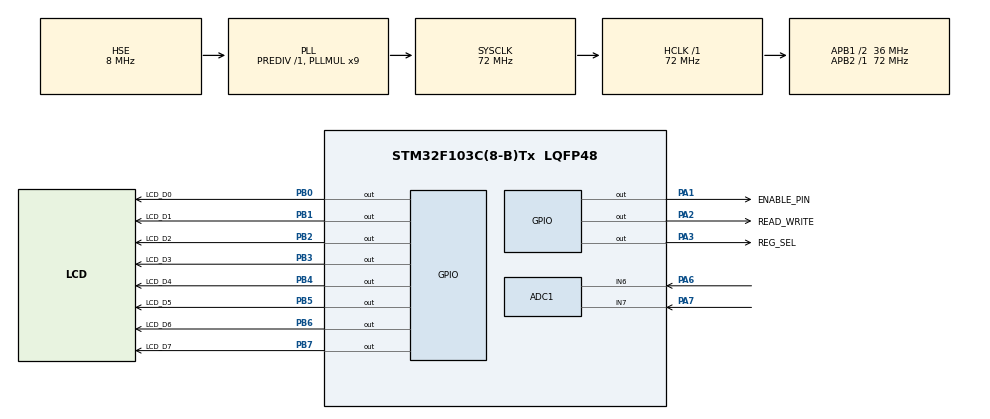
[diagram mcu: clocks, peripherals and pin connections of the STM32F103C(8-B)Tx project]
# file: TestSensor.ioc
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ADC1.Channel-0\#ChannelRegularConversion=ADC_CHANNEL_7
ADC1.NbrOfConversionFlag=1
ADC1.Rank-0\#ChannelRegularConversion=1
ADC1.SamplingTime-0\#ChannelRegularConversion=ADC_SAMPLETIME_1CYCLE_5
ADC1.master=1
Mcu.Family=STM32F1
Mcu.Name=STM32F103C(8-B)Tx
Mcu.Package=LQFP48
NVIC.PriorityGroup=NVIC_PRIORITYGROUP_4
PA1.GPIO_Label=ENABLE_PIN
PA1.Signal=GPIO_Output
PA13.Mode=Serial_Wire
PA13.Signal=SYS_JTMS-SWDIO
PA14.Mode=Serial_Wire
PA14.Signal=SYS_JTCK-SWCLK
PA2.GPIO_Label=READ_WRITE
PA2.Signal=GPIO_Output
PA3.GPIO_Label=REG_SEL
PA3.Signal=GPIO_Output
PA6.Signal=SharedAnalog_PA6
PA7.Signal=SharedAnalog_PA7
PB0.GPIO_Label=LCD_D0
PB0.GPIO_ModeDefaultOutputPP=GPIO_MODE_OUTPUT_OD
PB0.Signal=GPIO_Output
PB1.GPIO_Label=LCD_D1
PB1.GPIO_ModeDefaultOutputPP=GPIO_MODE_OUTPUT_OD
PB1.Signal=GPIO_Output
PB2.GPIO_Label=LCD_D2
PB2.GPIO_ModeDefaultOutputPP=GPIO_MODE_OUTPUT_OD
PB2.Signal=GPIO_Output
PB3.GPIO_Label=LCD_D3
PB3.GPIO_ModeDefaultOutputPP=GPIO_MODE_OUTPUT_OD
PB3.Signal=GPIO_Output
PB4.GPIO_Label=LCD_D4
PB4.GPIO_ModeDefaultOutputPP=GPIO_MODE_OUTPUT_OD
PB4.Signal=GPIO_Output
PB5.GPIO_Label=LCD_D5
PB5.GPIO_ModeDefaultOutputPP=GPIO_MODE_OUTPUT_OD
PB5.Signal=GPIO_Output
PB6.GPIO_Label=LCD_D6
PB6.GPIO_ModeDefaultOutputPP=GPIO_MODE_OUTPUT_OD
PB6.Signal=GPIO_Output
PB7.GPIO_Label=LCD_D7
PB7.GPIO_ModeDefaultOutputPP=GPIO_MODE_OUTPUT_OD
PB7.Signal=GPIO_Output
PD0-OSC_IN.Mode=HSE-External-Oscillator
PD0-OSC_IN.Signal=RCC_OSC_IN
PD1-OSC_OUT.Mode=HSE-External-Oscillator
PD1-OSC_OUT.Signal=RCC_OSC_OUT
ProjectManager.HeapSize=0x200
ProjectManager.StackSize=0x400
ProjectManager.TargetToolchain=SW4STM32
RCC.ADCPresc=RCC_ADCPCLK2_DIV6
RCC.AHBFreq_Value=72000000
RCC.APB1CLKDivider=RCC_HCLK_DIV2
RCC.APB1Freq_Value=36000000
RCC.APB1TimFreq_Value=72000000
RCC.APB2Freq_Value=72000000
RCC.APB2TimFreq_Value=72000000
RCC.HCLKFreq_Value=72000000
RCC.PLLMUL=RCC_PLL_MUL9
RCC.PLLSourceVirtual=RCC_PLLSOURCE_HSE
RCC.SYSCLKFreq_VALUE=72000000
RCC.SYSCLKSource=RCC_SYSCLKSOURCE_PLLCLK
RCC.USBFreq_Value=72000000
SH.SharedAnalog_PA6.0=GPIO_Analog
SH.SharedAnalog_PA6.1=ADC1_IN6,IN6
SH.SharedAnalog_PA7.0=GPIO_Analog
SH.SharedAnalog_PA7.1=ADC1_IN7,IN7
board=custom

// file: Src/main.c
/* USER CODE BEGIN Header */
/**
  ******************************************************************************
  * @file           : main.c
  * @brief          : Main program body
  ******************************************************************************
  * @attention
  *
  * <h2><center>&copy; Copyright (c) 2019 STMicroelectronics.
  * All rights reserved.</center></h2>
  *
  * This software component is licensed by ST under BSD 3-Clause license,
  * the "License"; You may not use this file except in compliance with the
  * License. You may obtain a copy of the License at:
  *                        opensource.org/licenses/BSD-3-Clause
  *
  ******************************************************************************
  */
/* USER CODE END Header */

#include "main.h"

/* USER CODE BEGIN Includes */
#include <stdint.h>
#include <stdio.h>
#include <math.h>
#include <string.h>
#include "LCD.h"

/* USER CODE END Includes */

ADC_HandleTypeDef hadc1;

void SystemClock_Config(void);
static void MX_GPIO_Init(void);
static void MX_ADC1_Init(void);

/* USER CODE BEGIN 0 */
void DelayUs(volatile uint32_t us)
{
	while(us != 0)
		us--;
}

void lcdWriteNibble(uint8_t data)
{
	// write mode = 0
	//GPIOA->BRR |= READ_WRITE_Pin;
	GPIOA->BSRR = (1 << 18) | (1 << 1);

	//GPIOA->BSRR |= ENABLE_PIN_Pin;
	DelayUs(7200);			// 100us

	GPIOB->BRR = LCD_D7_Pin | LCD_D6_Pin | LCD_D5_Pin | LCD_D4_Pin;
	GPIOB->BSRR = (((~data) & 0x0f) << 20) | (data << 4);

	DelayUs(7200);
	GPIOA->BRR |= ENABLE_PIN_Pin;

}

void lcdWrite4BitData(uint8_t data)
{
	lcdWriteNibble(data >> 4);
	lcdWriteNibble(data);
}

void lcdWrite8BitData(uint8_t data)
{
	GPIOA->BSRR = (1 << 18) | (1 << 1);
	DelayUs(7200);		// 100us

	GPIOB->BRR = LCD_D7_Pin | LCD_D6_Pin | LCD_D5_Pin | LCD_D4_Pin | LCD_D3_Pin | LCD_D2_Pin | LCD_D1_Pin | LCD_D0_Pin;
	GPIOB->BSRR = ((~data) << 16) | data;

	DelayUs(7200);
	GPIOA->BRR |= ENABLE_PIN_Pin;
}

void lcdWriteMsg(uint8_t msg)
{
	GPIOA->BSRR |= REG_SEL_Pin;
	lcdWrite8BitData(msg);
	//lcdWrite4BitData(msg);
}

// send command to LCD
void lcdWriteCmd(uint8_t msg)
{
	GPIOA->BRR |= REG_SEL_Pin;
	lcdWrite8BitData(msg);
	//lcdWrite4BitData(msg);
}

float measureLightIntensity(float Voltage, float stepDownVolatge)
{
	HAL_ADC_Start(&hadc1);
	uint16_t ADC_Light = HAL_ADC_GetValue(&hadc1);
	float intensity, voltage, actual_volatge;
	float IRRADIANCE_CONST = 0.19;

	ADC_Light = HAL_ADC_GetValue(&hadc1);
 	voltage = ((float )ADC_Light / 4096) * stepDownVolatge;
 	actual_volatge = (float)voltage * (Voltage/stepDownVolatge);
 	intensity = (float)actual_volatge * IRRADIANCE_CONST;

 	return intensity;
}

float measureTemperature(float Beta)
{
	HAL_ADC_Start(&hadc1);
	uint16_t ADC_Value;
	const float adcMax = 4095.00;
	const float invBeta = 1.00 / Beta;
	const float invT0 = 1.00 / 298.15;
	volatile float T, C;

	lcdSetCustomLoc(0,LINE_1_ADDR,1);
	ADC_Value = HAL_ADC_GetValue(&hadc1);
	T = 1.00 / (invT0 + invBeta*(log((adcMax / ADC_Value) - 1.00)));
	C = T - 273.15;

	return C;
}

void lcdPrintTemp()
{
	float C = measureTemperature(3721.8);

	printf(" ");
	printf("%.2f", C);
	lcdSetCustomLoc(7,LINE_1_ADDR,0);
	printf("C");
}

void lcdPrintIntensity()
{
	float intensity = measureLightIntensity(20, 3.214);

	lcdGotoNextLine();
 	lcdSetCustomLoc(0,LINE_2_ADDR,3);
 	printf(" ");
 	printf("%.2f", intensity);
 	printf("W/m");
 	lcdSetCustomLoc(9,LINE_2_ADDR,2);
}

/* USER CODE END 0 */

int main(void)
{

  /* MCU Configuration--------------------------------------------------------*/

  /* Reset of all peripherals, Initializes the Flash interface and the Systick. */
  HAL_Init();

  /* Configure the system clock */
  SystemClock_Config();

  /* Initialize all configured peripherals */
  MX_GPIO_Init();
  MX_ADC1_Init();
  /* USER CODE BEGIN 2 */
  initialise_monitor_handles();

  HAL_ADC_Start(&hadc1);
  //HAL_ADC_Start(&hadc2);

  lcdInit();

  uint8_t char1[] = {0x0E, 0x0A, 0x0E, 0x0, 0x0, 0x0, 0x0, 0x0};
  lcdCreateCustom(0,char1);

  uint8_t char2[] = {0x0E, 0x0A, 0x0A, 0x0A, 0x0A, 0x11, 0x11, 0x0E};
  lcdCreateCustom(1,char2);

  uint8_t char3[] = {0x0C, 0x12, 0x04, 0x08, 0x1E, 0x0, 0x0, 0x0};
  lcdCreateCustom(2,char3);

  uint8_t char4[] = {0x04, 0x15, 0x0E, 0x1B, 0x0E, 0x15, 0x04, 0x0};
  lcdCreateCustom(3,char4);

  /* USER CODE END 2 */

  /* Infinite loop */
  /* USER CODE BEGIN WHILE */
  while (1)
  {
	 measureTemperature(3721.8);
	 lcdPrintTemp();
	 measureLightIntensity(20, 3.214);
	 lcdPrintIntensity();
	 HAL_Delay(1000);
	 lcdReturnToHome();
    /* USER CODE END WHILE */

  }
}

void SystemClock_Config(void)
{
  RCC_OscInitTypeDef RCC_OscInitStruct = {0};
  RCC_ClkInitTypeDef RCC_ClkInitStruct = {0};
  RCC_PeriphCLKInitTypeDef PeriphClkInit = {0};

  /** Initializes the CPU, AHB and APB busses clocks
  */
  RCC_OscInitStruct.OscillatorType = RCC_OSCILLATORTYPE_HSE;
  RCC_OscInitStruct.HSEState = RCC_HSE_ON;
  RCC_OscInitStruct.HSEPredivValue = RCC_HSE_PREDIV_DIV1;
  RCC_OscInitStruct.HSIState = RCC_HSI_ON;
  RCC_OscInitStruct.PLL.PLLState = RCC_PLL_ON;
  RCC_OscInitStruct.PLL.PLLSource = RCC_PLLSOURCE_HSE;
  RCC_OscInitStruct.PLL.PLLMUL = RCC_PLL_MUL9;
  if (HAL_RCC_OscConfig(&RCC_OscInitStruct) != HAL_OK)
  {
    Error_Handler();
  }
  /** Initializes the CPU, AHB and APB busses clocks
  */
  RCC_ClkInitStruct.ClockType = RCC_CLOCKTYPE_HCLK|RCC_CLOCKTYPE_SYSCLK
                              |RCC_CLOCKTYPE_PCLK1|RCC_CLOCKTYPE_PCLK2;
  RCC_ClkInitStruct.SYSCLKSource = RCC_SYSCLKSOURCE_PLLCLK;
  RCC_ClkInitStruct.AHBCLKDivider = RCC_SYSCLK_DIV1;
  RCC_ClkInitStruct.APB1CLKDivider = RCC_HCLK_DIV2;
  RCC_ClkInitStruct.APB2CLKDivider = RCC_HCLK_DIV1;

  if (HAL_RCC_ClockConfig(&RCC_ClkInitStruct, FLASH_LATENCY_2) != HAL_OK)
  {
    Error_Handler();
  }
  PeriphClkInit.PeriphClockSelection = RCC_PERIPHCLK_ADC;
  PeriphClkInit.AdcClockSelection = RCC_ADCPCLK2_DIV6;
  if (HAL_RCCEx_PeriphCLKConfig(&PeriphClkInit) != HAL_OK)
  {
    Error_Handler();
  }
}

static void MX_ADC1_Init(void)
{

  ADC_ChannelConfTypeDef sConfig = {0};

  /** Common config
  */
  hadc1.Instance = ADC1;
  hadc1.Init.ScanConvMode = ADC_SCAN_ENABLE;
  hadc1.Init.ContinuousConvMode = ENABLE;
  hadc1.Init.DiscontinuousConvMode = DISABLE;
  hadc1.Init.ExternalTrigConv = ADC_SOFTWARE_START;
  hadc1.Init.DataAlign = ADC_DATAALIGN_RIGHT;
  hadc1.Init.NbrOfConversion = 1;
  if (HAL_ADC_Init(&hadc1) != HAL_OK)
  {
    Error_Handler();
  }
  /** Configure Regular Channel
  */
  sConfig.Channel = ADC_CHANNEL_7;
  sConfig.Rank = ADC_REGULAR_RANK_1;
  sConfig.SamplingTime = ADC_SAMPLETIME_1CYCLE_5;
  if (HAL_ADC_ConfigChannel(&hadc1, &sConfig) != HAL_OK)
  {
    Error_Handler();
  }

}

static void MX_GPIO_Init(void)
{
  GPIO_InitTypeDef GPIO_InitStruct = {0};

  /* GPIO Ports Clock Enable */
  __HAL_RCC_GPIOD_CLK_ENABLE();
  __HAL_RCC_GPIOA_CLK_ENABLE();
  __HAL_RCC_GPIOB_CLK_ENABLE();

  /*Configure GPIO pin Output Level */
  HAL_GPIO_WritePin(GPIOA, ENABLE_PIN_Pin|READ_WRITE_Pin|REG_SEL_Pin, GPIO_PIN_RESET);

  /*Configure GPIO pin Output Level */
  HAL_GPIO_WritePin(GPIOB, LCD_D0_Pin|LCD_D1_Pin|LCD_D2_Pin|LCD_D3_Pin
                          |LCD_D4_Pin|LCD_D5_Pin|LCD_D6_Pin|LCD_D7_Pin, GPIO_PIN_RESET);

  /*Configure GPIO pins : ENABLE_PIN_Pin READ_WRITE_Pin REG_SEL_Pin */
  GPIO_InitStruct.Pin = ENABLE_PIN_Pin|READ_WRITE_Pin|REG_SEL_Pin;
  GPIO_InitStruct.Mode = GPIO_MODE_OUTPUT_PP;
  GPIO_InitStruct.Pull = GPIO_NOPULL;
  GPIO_InitStruct.Speed = GPIO_SPEED_FREQ_LOW;
  HAL_GPIO_Init(GPIOA, &GPIO_InitStruct);

  /*Configure GPIO pins : PA6 PA7 */
  GPIO_InitStruct.Pin = GPIO_PIN_6|GPIO_PIN_7;
  GPIO_InitStruct.Mode = GPIO_MODE_ANALOG;
  HAL_GPIO_Init(GPIOA, &GPIO_InitStruct);

  /*Configure GPIO pins : LCD_D0_Pin LCD_D1_Pin LCD_D2_Pin LCD_D3_Pin
                           LCD_D4_Pin LCD_D5_Pin LCD_D6_Pin LCD_D7_Pin */
  GPIO_InitStruct.Pin = LCD_D0_Pin|LCD_D1_Pin|LCD_D2_Pin|LCD_D3_Pin
                          |LCD_D4_Pin|LCD_D5_Pin|LCD_D6_Pin|LCD_D7_Pin;
  GPIO_InitStruct.Mode = GPIO_MODE_OUTPUT_OD;
  GPIO_InitStruct.Pull = GPIO_NOPULL;
  GPIO_InitStruct.Speed = GPIO_SPEED_FREQ_LOW;
  HAL_GPIO_Init(GPIOB, &GPIO_InitStruct);

}

/* USER CODE BEGIN 4 */
int __io_putchar(int ch)
{
	lcdWriteMsg(ch);
	return ch;
}

/* USER CODE END 4 */

void Error_Handler(void)
{
}

/************************ (C) COPYRIGHT STMicroelectronics *****END OF FILE****/
